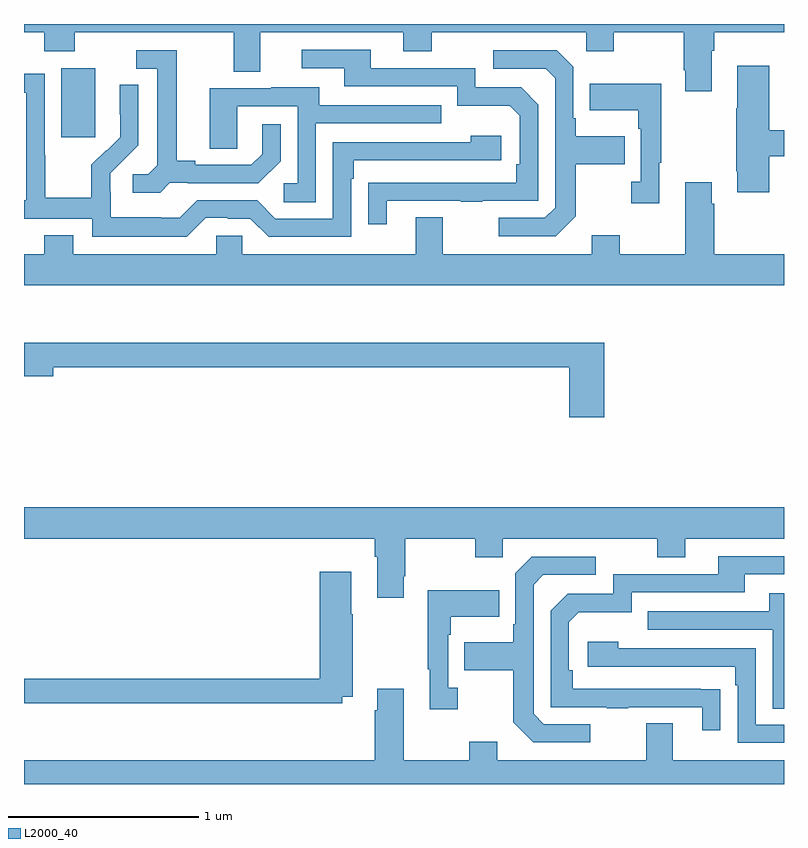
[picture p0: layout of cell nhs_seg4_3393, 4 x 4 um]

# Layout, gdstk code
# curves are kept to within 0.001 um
import gdstk
lib = gdstk.Library(unit=1e-6, precision=1e-09)
def R(c, l, rs):  # rectangles x0, y0, x1, y1
    for r in rs: c.add(gdstk.rectangle(r[:2], r[2:], *l))
def P(c, l, *ps):  # polygons
    for p in ps: c.add(gdstk.Polygon(p, *l))
L2000_40 = (2000, 40)

nhs_seg4_3393 = lib.new_cell('nhs_seg4_3393')
R(nhs_seg4_3393, L2000_40, [(291.197,760.305,291.376,760.666)])
P(nhs_seg4_3393, L2000_40, [(294.619,760.76),(294.632,760.76),(294.632,760.856),(295,760.856),(295,760.9),(291,760.9),(291,760.856),(291.107,760.856),(291.107,760.757),(291.267,760.757),(291.267,760.856),(292.103,760.856),(292.103,760.648),(292.243,760.648),(292.243,760.856),(292.997,760.856),(292.997,760.757),(293.145,760.757),(293.145,760.856),(293.958,760.856),(293.958,760.757),(294.105,760.757),(294.105,760.856),(294.472,760.856),(294.472,760.657),(294.479,760.657),(294.479,760.545),(294.619,760.545)],
  [(292.909,759.969),(293.299,759.969),(293.299,759.964),(293.411,759.964),(293.411,759.969),(293.706,759.969),(293.706,760.476),(293.616,760.566),(293.376,760.566),(293.376,760.668),(292.825,760.668),(292.825,760.764),(292.461,760.764),(292.461,760.668),(292.685,760.668),(292.685,760.572),(293.28,760.572),(293.28,760.469),(293.557,760.469),(293.61,760.416),(293.61,760.162),(293.59,760.162),(293.59,760.065),(292.813,760.064),(292.813,759.846),(292.909,759.846)],
  [(293.905,759.889),(293.905,760.162),(294.161,760.162),(294.161,760.309),(293.905,760.309),(293.905,760.405),(293.892,760.405),(293.892,760.674),(293.805,760.761),(293.469,760.761),(293.469,760.665),(293.745,760.665),(293.796,760.614),(293.796,759.933),(293.742,759.879),(293.499,759.879),(293.499,759.783),(293.799,759.783)],
  [(291.768,760.065),(291.862,760.065),(291.862,760.062),(292.234,760.062),(292.35,760.178),(292.35,760.372),(292.253,760.372),(292.253,760.215),(292.196,760.158),(291.901,760.158),(291.901,760.181),(291.805,760.181),(291.805,760.761),(291.591,760.761),(291.591,760.665),(291.701,760.665),(291.701,760.157),(291.654,760.11),(291.573,760.11),(291.573,760.013),(291.716,760.013)],
  [(294.923,760.204),(295,760.204),(295,760.34),(294.923,760.34),(294.923,760.681),(294.755,760.681),(294.755,760.457),(294.748,760.457),(294.748,760.126),(294.755,760.126),(294.755,760.014),(294.923,760.014)],
  [(291.957,759.879),(292.073,759.879),(292.073,759.876),(292.191,759.876),(292.287,759.78),(292.722,759.78),(292.722,760.085),(292.735,760.085),(292.735,760.182),(293.512,760.182),(293.512,760.312),(293.351,760.312),(293.351,760.278),(292.626,760.278),(292.626,759.876),(292.323,759.876),(292.227,759.972),(291.912,759.972),(291.819,759.879),(291.719,759.879),(291.719,759.883),(291.456,759.883),(291.456,760.017),(291.454,760.017),(291.454,760.114),(291.6,760.262),(291.6,760.58),(291.504,760.58),(291.504,760.426),(291.506,760.426),(291.506,760.304),(291.435,760.233),(291.432,760.236),(291.355,760.159),(291.355,759.985),(291.111,759.985),(291.111,760.208),(291.108,760.208),(291.108,760.638),(291,760.638),(291,760.539),(291.012,760.539),(291.012,759.972),(291,759.972),(291,759.876),(291.36,759.876),(291.36,759.779),(291.857,759.779)],
  [(294.343,760.169),(294.355,760.169),(294.355,760.585),(293.977,760.585),(293.977,760.445),(294.234,760.445),(294.234,760.349),(294.246,760.349),(294.246,760.07),(294.195,760.07),(294.195,759.957),(294.343,759.957)],
  [(292.536,760.377),(293.195,760.377),(293.195,760.473),(292.555,760.473),(292.555,760.567),(292.301,760.567),(292.301,760.563),(291.977,760.563),(291.977,760.243),(292.122,760.243),(292.122,760.467),(292.44,760.467),(292.44,760.062),(292.368,760.062),(292.368,759.961),(292.536,759.961)],
  [(295,759.688),(294.632,759.688),(294.632,759.953),(294.619,759.953),(294.619,760.066),(294.479,760.066),(294.479,759.688),(294.135,759.688),(294.135,759.787),(293.987,759.787),(293.987,759.688),(293.203,759.688),(293.203,759.883),(293.063,759.883),(293.063,759.688),(292.149,759.688),(292.149,759.786),(292.011,759.786),(292.011,759.688),(291.259,759.688),(291.259,759.787),(291.107,759.787),(291.107,759.688),(291,759.688),(291,759.524),(295,759.524)],
  [(294.053,759.223),(291,759.223),(291,759.047),(291.154,759.047),(291.154,759.094),(293.87,759.094),(293.87,758.829),(294.053,758.829)],
  [(291,758.192),(292.847,758.192),(292.847,758.096),(292.859,758.096),(292.859,757.881),(292.999,757.881),(292.999,757.993),(293.007,757.993),(293.007,758.192),(293.374,758.192),(293.374,758.093),(293.52,758.093),(293.52,758.192),(294.334,758.192),(294.334,758.093),(294.481,758.093),(294.481,758.192),(295,758.192),(295,758.356),(291,758.356)],
  [(294.665,757.4),(293.888,757.401),(293.888,757.498),(293.868,757.498),(293.868,757.752),(293.921,757.805),(294.198,757.805),(294.198,757.908),(294.793,757.908),(294.793,758.004),(295,758.004),(295,758.1),(294.653,758.1),(294.653,758.004),(294.102,758.004),(294.102,757.902),(293.862,757.902),(293.772,757.812),(293.772,757.305),(294.067,757.305),(294.067,757.3),(294.179,757.3),(294.179,757.305),(294.569,757.305),(294.569,757.182),(294.665,757.182)],
  [(293.98,757.215),(293.736,757.215),(293.682,757.269),(293.682,757.95),(293.733,758.001),(294.01,758.001),(294.01,758.097),(293.673,758.097),(293.586,758.01),(293.586,757.741),(293.574,757.741),(293.574,757.645),(293.317,757.645),(293.317,757.498),(293.574,757.498),(293.574,757.225),(293.679,757.119),(293.98,757.119)],
  [(292.674,757.358),(292.731,757.358),(292.731,757.793),(292.723,757.793),(292.723,758.017),(292.556,758.017),(292.556,757.454),(291,757.454),(291,757.326),(292.674,757.326)],
  [(293.284,757.406),(293.232,757.406),(293.232,757.685),(293.245,757.685),(293.245,757.781),(293.501,757.781),(293.501,757.921),(293.124,757.921),(293.124,757.505),(293.135,757.505),(293.135,757.293),(293.284,757.293)],
  [(295,757.903),(294.923,757.903),(294.923,757.809),(294.283,757.809),(294.283,757.713),(294.942,757.713),(294.942,757.297),(295,757.297)],
  [(295,757.212),(294.852,757.212),(294.852,757.614),(294.128,757.614),(294.128,757.648),(293.967,757.648),(293.967,757.518),(294.743,757.518),(294.743,757.421),(294.756,757.421),(294.756,757.116),(295,757.116)],
  [(295,757.024),(294.415,757.024),(294.415,757.219),(294.275,757.219),(294.275,757.024),(293.491,757.024),(293.491,757.123),(293.344,757.123),(293.344,757.024),(292.999,757.024),(292.999,757.402),(292.859,757.402),(292.859,757.289),(292.847,757.289),(292.847,757.024),(291,757.024),(291,756.9),(295,756.9)])

lib.write_gds('nhs_seg4_3393.gds')
